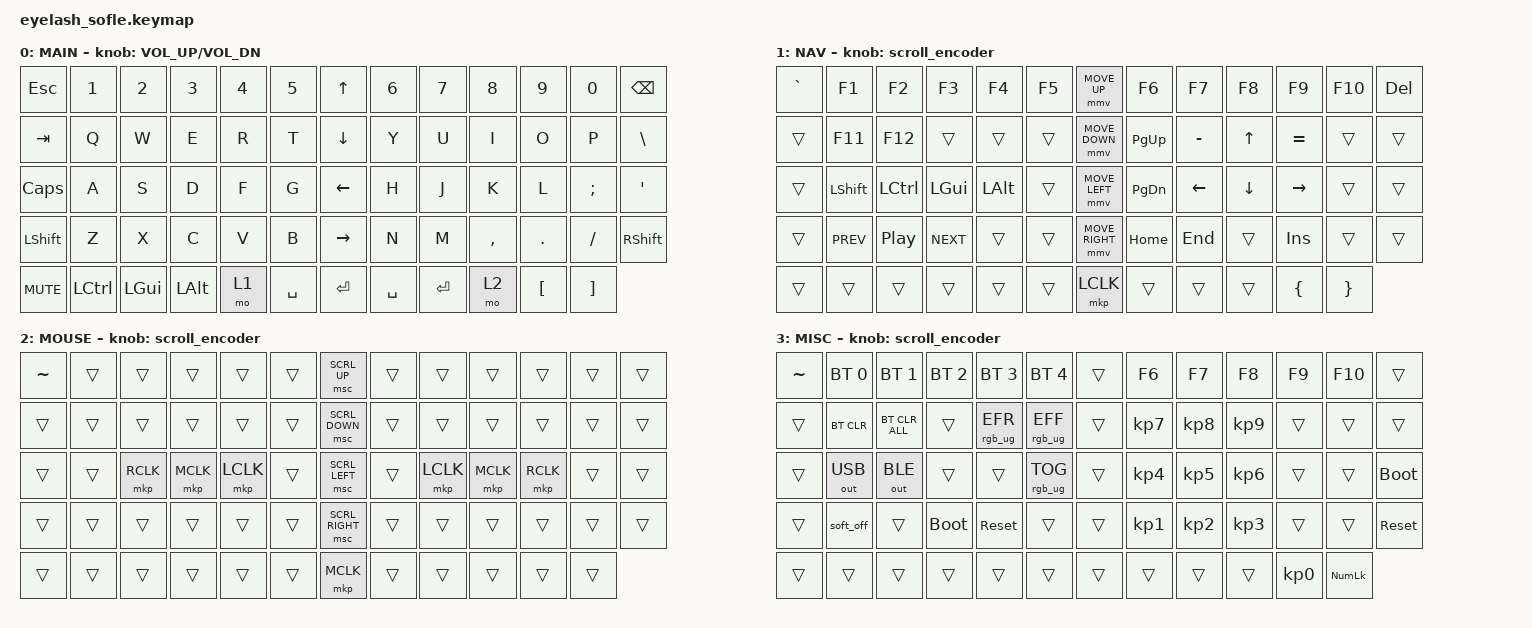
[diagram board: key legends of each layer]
#define ZMK_POINTING_DEFAULT_MOVE_VAL 1200  // 600
#define ZMK_POINTING_DEFAULT_SCRL_VAL 25   // 10

#include <input/processors.dtsi>
#include <zephyr/dt-bindings/input/input-event-codes.h>
#include <behaviors.dtsi>
#include <dt-bindings/zmk/bt.h>
#include <dt-bindings/zmk/keys.h>
#include <dt-bindings/zmk/outputs.h>
#include <dt-bindings/zmk/pointing.h>
#include <dt-bindings/zmk/rgb.h>

&mmv_input_listener { input-processors = <&zip_xy_scaler 2 1>; };

&msc_input_listener { input-processors = <&zip_scroll_scaler 2 1>; };

&msc {
    acceleration-exponent = <1>;      // 0
    time-to-max-speed-ms = <100>;       // 300
    delay-ms = <0>;                   // 0
};

&mmv {
    time-to-max-speed-ms = <500>;
    acceleration-exponent = <1>;
    trigger-period-ms = <16>;
};

/ {
    scroll_encoder: scroll_encoder {
        compatible = "zmk,behavior-sensor-rotate";
        #sensor-binding-cells = <0>;
        bindings = <&msc SCRL_DOWN>, <&msc SCRL_UP>;

        tap-ms = <100>;
    };

    behaviors {
    };

    keymap {
        compatible = "zmk,keymap";

        MAIN {
            bindings = <
&kp ESC     &kp N1     &kp N2        &kp N3        &kp N4  &kp N5       &kp UP_ARROW     &kp N6     &kp N7     &kp N8     &kp N9            &kp N0             &kp BACKSPACE
&kp TAB     &kp Q      &kp W         &kp E         &kp R   &kp T        &kp DOWN_ARROW   &kp Y      &kp U      &kp I      &kp O             &kp P              &kp BSLH
&kp CAPS    &kp A      &kp S         &kp D         &kp F   &kp G        &kp LEFT_ARROW   &kp H      &kp J      &kp K      &kp L             &kp SEMI           &kp APOS
&kp LSHFT   &kp Z      &kp X         &kp C         &kp V   &kp B        &kp RIGHT_ARROW  &kp N      &kp M      &kp COMMA  &kp DOT           &kp FSLH           &kp RIGHT_SHIFT
&kp C_MUTE  &kp LCTRL  &kp LEFT_GUI  &kp LEFT_ALT  &mo 1   &kp SPACE    &kp ENTER        &kp SPACE  &kp ENTER  &mo 2      &kp LEFT_BRACKET  &kp RIGHT_BRACKET
            >;

            sensor-bindings = <&inc_dec_kp C_VOLUME_UP C_VOL_DN>;
            display-name = "MAIN";
        };

        NAV {
            bindings = <
&kp GRAVE  &kp F1          &kp F2            &kp F3      &kp F4    &kp F5    &mmv MOVE_UP     &kp F6     &kp F7     &kp F8    &kp F9          &kp F10          &kp DELETE
&trans     &kp F11         &kp F12           &trans      &trans    &trans    &mmv MOVE_DOWN   &kp PG_UP  &kp MINUS  &kp UP    &kp EQUAL       &trans           &trans
&trans     &kp LEFT_SHIFT  &kp LCTRL         &kp LGUI    &kp LALT  &trans    &mmv MOVE_LEFT   &kp PG_DN  &kp LEFT   &kp DOWN  &kp RIGHT       &trans           &trans
&trans     &kp C_PREV      &kp C_PLAY_PAUSE  &kp C_NEXT  &trans    &trans    &mmv MOVE_RIGHT  &kp HOME   &kp END    &trans    &kp INS         &trans           &trans
&trans     &trans          &trans            &trans      &trans    &trans    &mkp LCLK        &trans     &trans     &trans    &kp LEFT_BRACE  &kp RIGHT_BRACE
            >;

            display-name = "NAV";
            sensor-bindings = <&scroll_encoder>;
        };

        MOUSE {
            bindings = <
&kp TILDE  &trans  &trans     &trans     &trans     &trans    &msc SCRL_UP     &trans  &trans     &trans     &trans     &trans  &trans
&trans     &trans  &trans     &trans     &trans     &trans    &msc SCRL_DOWN   &trans  &trans     &trans     &trans     &trans  &trans
&trans     &trans  &mkp RCLK  &mkp MCLK  &mkp LCLK  &trans    &msc SCRL_LEFT   &trans  &mkp LCLK  &mkp MCLK  &mkp RCLK  &trans  &trans
&trans     &trans  &trans     &trans     &trans     &trans    &msc SCRL_RIGHT  &trans  &trans     &trans     &trans     &trans  &trans
&trans     &trans  &trans     &trans     &trans     &trans    &mkp MCLK        &trans  &trans     &trans     &trans     &trans
            >;

            label = "MOUSE";
            sensor-bindings = <&scroll_encoder>;
        };

        MISC {
            bindings = <
&kp TILDE  &bt BT_SEL 0  &bt BT_SEL 1    &bt BT_SEL 2  &bt BT_SEL 3     &bt BT_SEL 4       &trans  &kp F6           &kp F7     &kp F8     &kp F9     &kp F10     &trans
&trans     &bt BT_CLR    &bt BT_CLR_ALL  &trans        &rgb_ug RGB_EFR  &rgb_ug RGB_EFF    &trans  &kp KP_NUMBER_7  &kp KP_N8  &kp KP_N9  &trans     &trans      &trans
&trans     &out OUT_USB  &out OUT_BLE    &trans        &trans           &rgb_ug RGB_TOG    &trans  &kp KP_N4        &kp KP_N5  &kp KP_N6  &trans     &trans      &bootloader
&trans     &soft_off     &trans          &bootloader   &sys_reset       &trans             &trans  &kp KP_N1        &kp KP_N2  &kp KP_N3  &trans     &trans      &sys_reset
&trans     &trans        &trans          &trans        &trans           &trans             &trans  &trans           &trans     &trans     &kp KP_N0  &kp KP_NUM
            >;

            sensor-bindings = <&scroll_encoder>;
            label = "MISC";
        };
    };

    conditional_layers {
        compatible = "zmk,conditional-layers";

        MISC_LAYER_ACTIVE {
            if-layers = <1 2>;
            then-layer = <3>;
        };
    };
};
